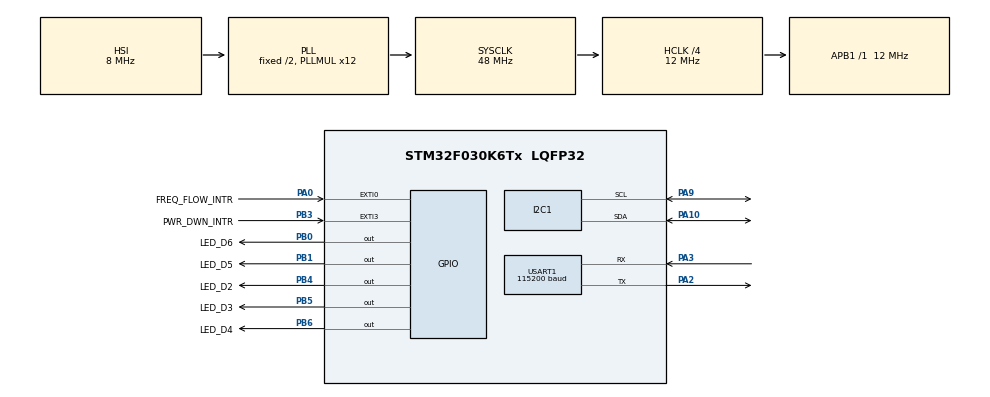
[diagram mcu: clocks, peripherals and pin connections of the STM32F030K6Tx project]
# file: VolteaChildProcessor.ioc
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Mcu.Family=STM32F0
Mcu.Name=STM32F030K6Tx
Mcu.Package=LQFP32
NVIC.EXTI0_1_IRQn=true\:2\:0\:true\:false\:true\:true\:true
NVIC.TIM14_IRQn=true\:1\:0\:true\:false\:true\:true\:true
NVIC.USART1_IRQn=true\:0\:0\:true\:false\:true\:true\:true
PA0.GPIO_Label=FREQ_FLOW_INTR
PA0.Signal=GPXTI0
PA10.Mode=I2C
PA10.Signal=I2C1_SDA
PA13.Mode=Serial_Wire
PA13.Signal=SYS_SWDIO
PA14.Mode=Serial_Wire
PA14.Signal=SYS_SWCLK
PA2.Mode=Asynchronous
PA2.Signal=USART1_TX
PA3.Mode=Asynchronous
PA3.Signal=USART1_RX
PA9.Mode=I2C
PA9.Signal=I2C1_SCL
PB0.GPIO_Label=LED_D6
PB0.Signal=GPIO_Output
PB1.GPIO_Label=LED_D5
PB1.Signal=GPIO_Output
PB3.GPIO_Label=PWR_DWN_INTR
PB3.Signal=GPXTI3
PB4.GPIO_Label=LED_D2
PB4.Signal=GPIO_Output
PB5.GPIO_Label=LED_D3
PB5.Signal=GPIO_Output
PB6.GPIO_Label=LED_D4
PB6.Signal=GPIO_Output
ProjectManager.HeapSize=0x200
ProjectManager.StackSize=0x400
ProjectManager.TargetToolchain=MDK-ARM V5.27
RCC.AHBCLKDivider=RCC_SYSCLK_DIV4
RCC.AHBFreq_Value=12000000
RCC.APB1Freq_Value=12000000
RCC.APB1TimFreq_Value=12000000
RCC.HCLKFreq_Value=12000000
RCC.PLLMUL=RCC_PLL_MUL12
RCC.SYSCLKFreq_VALUE=48000000
RCC.SYSCLKSource=RCC_SYSCLKSOURCE_PLLCLK
TIM14.Period=3
TIM14.Prescaler=11999
USART1.BaudRate=115200
USART1.OverSampling=UART_OVERSAMPLING_8
USART1.VirtualMode-Asynchronous=VM_ASYNC
VP_TIM14_VS_ClockSourceINT.Mode=Enable_Timer
VP_WWDG_VS_WWDG.Mode=WWDG_Activate
WWDG.Counter=127
WWDG.Prescaler=WWDG_PRESCALER_8
WWDG.Window=127
board=custom

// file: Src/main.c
/* USER CODE BEGIN Header */
/**
  ******************************************************************************
  * @file           : main.c
  * @brief          : Main program body
  ******************************************************************************
  * @attention
  *
  * <h2><center>&copy; Copyright (c) 2020 STMicroelectronics.
  * All rights reserved.</center></h2>
  *
  * This software component is licensed by ST under BSD 3-Clause license,
  * the "License"; You may not use this file except in compliance with the
  * License. You may obtain a copy of the License at:
  *                        opensource.org/licenses/BSD-3-Clause
  *
  ******************************************************************************
  */
/* USER CODE END Header */

#include "main.h"

/* USER CODE BEGIN Includes */
#include "SerialCommunication.h"
#include "MyTimer.h"
#include "PC_Communication.h"
#include "InternalFlashMMU.h"
#include "MyAnalog.h"
#include "MyDelay.h"
/* USER CODE END Includes */

I2C_HandleTypeDef hi2c1;

TIM_HandleTypeDef htim14;

UART_HandleTypeDef huart1;

WWDG_HandleTypeDef hwwdg;

void SystemClock_Config(void);
static void MX_GPIO_Init(void);
static void MX_I2C1_Init(void);
static void MX_TIM14_Init(void);
static void MX_USART1_UART_Init(void);
static void MX_WWDG_Init(void);

int main(void)
{

  /* MCU Configuration--------------------------------------------------------*/

  /* Reset of all peripherals, Initializes the Flash interface and the Systick. */
  HAL_Init();

  /* Configure the system clock */
  SystemClock_Config();

  /* Initialize all configured peripherals */
  MX_GPIO_Init();
  MX_I2C1_Init();
  MX_TIM14_Init();
  MX_USART1_UART_Init();
  MX_WWDG_Init();
  /* USER CODE BEGIN 2 */
  HAL_UART_Receive_IT(&huart1,&RxByte,1);

  /* USER CODE END 2 */

  /* Infinite loop */
  /* USER CODE BEGIN WHILE */
  InternalFlashSettings();
  InitMyTimer();

  while (1)
  {
		#ifdef WATCH_DOG
			#if(PROJECT_MODE==RELEASED)
				HAL_WWDG_Refresh(&hwwdg);
			#endif
		#endif
    /* USER CODE END WHILE */

    /* USER CODE BEGIN 3 */
	  CheckCommand();
	  if(MyClock.TimeStamp % 100 == 0)
	  {	ReadTemperature();
			MyDelayMS(5);
	  }
  }
  /* USER CODE END 3 */
}

void SystemClock_Config(void)
{
  RCC_OscInitTypeDef RCC_OscInitStruct = {0};
  RCC_ClkInitTypeDef RCC_ClkInitStruct = {0};
  RCC_PeriphCLKInitTypeDef PeriphClkInit = {0};

  /** Initializes the CPU, AHB and APB busses clocks
  */
  RCC_OscInitStruct.OscillatorType = RCC_OSCILLATORTYPE_HSI;
  RCC_OscInitStruct.HSIState = RCC_HSI_ON;
  RCC_OscInitStruct.HSICalibrationValue = RCC_HSICALIBRATION_DEFAULT;
  RCC_OscInitStruct.PLL.PLLState = RCC_PLL_ON;
  RCC_OscInitStruct.PLL.PLLSource = RCC_PLLSOURCE_HSI;
  RCC_OscInitStruct.PLL.PLLMUL = RCC_PLL_MUL12;
  RCC_OscInitStruct.PLL.PREDIV = RCC_PREDIV_DIV1;
  if (HAL_RCC_OscConfig(&RCC_OscInitStruct) != HAL_OK)
  {
    Error_Handler();
  }
  /** Initializes the CPU, AHB and APB busses clocks
  */
  RCC_ClkInitStruct.ClockType = RCC_CLOCKTYPE_HCLK|RCC_CLOCKTYPE_SYSCLK
                              |RCC_CLOCKTYPE_PCLK1;
  RCC_ClkInitStruct.SYSCLKSource = RCC_SYSCLKSOURCE_PLLCLK;
  RCC_ClkInitStruct.AHBCLKDivider = RCC_SYSCLK_DIV4;
  RCC_ClkInitStruct.APB1CLKDivider = RCC_HCLK_DIV1;

  if (HAL_RCC_ClockConfig(&RCC_ClkInitStruct, FLASH_LATENCY_1) != HAL_OK)
  {
    Error_Handler();
  }
  PeriphClkInit.PeriphClockSelection = RCC_PERIPHCLK_USART1|RCC_PERIPHCLK_I2C1;
  PeriphClkInit.Usart1ClockSelection = RCC_USART1CLKSOURCE_PCLK1;
  PeriphClkInit.I2c1ClockSelection = RCC_I2C1CLKSOURCE_HSI;
  if (HAL_RCCEx_PeriphCLKConfig(&PeriphClkInit) != HAL_OK)
  {
    Error_Handler();
  }
}

static void MX_I2C1_Init(void)
{

  hi2c1.Instance = I2C1;
  hi2c1.Init.Timing = 0x2000090E;
  hi2c1.Init.OwnAddress1 = 0;
  hi2c1.Init.AddressingMode = I2C_ADDRESSINGMODE_7BIT;
  hi2c1.Init.DualAddressMode = I2C_DUALADDRESS_DISABLE;
  hi2c1.Init.OwnAddress2 = 0;
  hi2c1.Init.OwnAddress2Masks = I2C_OA2_NOMASK;
  hi2c1.Init.GeneralCallMode = I2C_GENERALCALL_DISABLE;
  hi2c1.Init.NoStretchMode = I2C_NOSTRETCH_DISABLE;
  if (HAL_I2C_Init(&hi2c1) != HAL_OK)
  {
    Error_Handler();
  }
  /** Configure Analogue filter
  */
  if (HAL_I2CEx_ConfigAnalogFilter(&hi2c1, I2C_ANALOGFILTER_ENABLE) != HAL_OK)
  {
    Error_Handler();
  }
  /** Configure Digital filter
  */
  if (HAL_I2CEx_ConfigDigitalFilter(&hi2c1, 0) != HAL_OK)
  {
    Error_Handler();
  }

}

static void MX_TIM14_Init(void)
{

  htim14.Instance = TIM14;
  htim14.Init.Prescaler = 11999;
  htim14.Init.CounterMode = TIM_COUNTERMODE_UP;
  htim14.Init.Period = 3;
  htim14.Init.ClockDivision = TIM_CLOCKDIVISION_DIV1;
  htim14.Init.AutoReloadPreload = TIM_AUTORELOAD_PRELOAD_DISABLE;
  if (HAL_TIM_Base_Init(&htim14) != HAL_OK)
  {
    Error_Handler();
  }

}

static void MX_USART1_UART_Init(void)
{

  huart1.Instance = USART1;
  huart1.Init.BaudRate = 115200;
  huart1.Init.WordLength = UART_WORDLENGTH_8B;
  huart1.Init.StopBits = UART_STOPBITS_1;
  huart1.Init.Parity = UART_PARITY_NONE;
  huart1.Init.Mode = UART_MODE_TX_RX;
  huart1.Init.HwFlowCtl = UART_HWCONTROL_NONE;
  huart1.Init.OverSampling = UART_OVERSAMPLING_8;
  huart1.Init.OneBitSampling = UART_ONE_BIT_SAMPLE_DISABLE;
  huart1.AdvancedInit.AdvFeatureInit = UART_ADVFEATURE_NO_INIT;
  if (HAL_UART_Init(&huart1) != HAL_OK)
  {
    Error_Handler();
  }

}

static void MX_WWDG_Init(void)
{

  hwwdg.Instance = WWDG;
  hwwdg.Init.Prescaler = WWDG_PRESCALER_8;
  hwwdg.Init.Window = 127;
  hwwdg.Init.Counter = 127;
  hwwdg.Init.EWIMode = WWDG_EWI_DISABLE;
  if (HAL_WWDG_Init(&hwwdg) != HAL_OK)
  {
    Error_Handler();
  }

}

static void MX_GPIO_Init(void)
{
  GPIO_InitTypeDef GPIO_InitStruct = {0};

  /* GPIO Ports Clock Enable */
  __HAL_RCC_GPIOA_CLK_ENABLE();
  __HAL_RCC_GPIOB_CLK_ENABLE();

  /*Configure GPIO pin Output Level */
  HAL_GPIO_WritePin(GPIOB, LED_D6_Pin|LED_D5_Pin|LED_D2_Pin|LED_D3_Pin
                          |LED_D4_Pin, GPIO_PIN_RESET);

  /*Configure GPIO pin : FREQ_FLOW_INTR_Pin */
  GPIO_InitStruct.Pin = FREQ_FLOW_INTR_Pin;
  GPIO_InitStruct.Mode = GPIO_MODE_IT_RISING;
  GPIO_InitStruct.Pull = GPIO_NOPULL;
  HAL_GPIO_Init(FREQ_FLOW_INTR_GPIO_Port, &GPIO_InitStruct);

  /*Configure GPIO pins : LED_D6_Pin LED_D5_Pin LED_D2_Pin LED_D3_Pin
                           LED_D4_Pin */
  GPIO_InitStruct.Pin = LED_D6_Pin|LED_D5_Pin|LED_D2_Pin|LED_D3_Pin
                          |LED_D4_Pin;
  GPIO_InitStruct.Mode = GPIO_MODE_OUTPUT_PP;
  GPIO_InitStruct.Pull = GPIO_NOPULL;
  GPIO_InitStruct.Speed = GPIO_SPEED_FREQ_LOW;
  HAL_GPIO_Init(GPIOB, &GPIO_InitStruct);

  /*Configure GPIO pin : PWR_DWN_INTR_Pin */
  GPIO_InitStruct.Pin = PWR_DWN_INTR_Pin;
  GPIO_InitStruct.Mode = GPIO_MODE_IT_RISING;
  GPIO_InitStruct.Pull = GPIO_NOPULL;
  HAL_GPIO_Init(PWR_DWN_INTR_GPIO_Port, &GPIO_InitStruct);

  /* EXTI interrupt init*/
  HAL_NVIC_SetPriority(EXTI0_1_IRQn, 2, 0);
  HAL_NVIC_EnableIRQ(EXTI0_1_IRQn);

}

/* USER CODE BEGIN 4 */
void HAL_GPIO_EXTI_Callback(uint16_t GPIO_Pin)
{
  //* Prevent unused argument(s) compilation warning
  UNUSED(GPIO_Pin);

//  /* NOTE: This function should not be modified, when the callback is needed,
//            the HAL_GPIO_EXTI_Callback could be implemented in the user file
//
	if(GPIO_Pin == FREQ_FLOW_INTR_Pin)
	{	FlowIntrCounterCurrent++;
		CurrentFlowIntrCounter++;
		switch(FlowIntrCounterCurrent%5)
		{	case 0:
				HAL_GPIO_WritePin(LED_D2_GPIO_Port, LED_D2_Pin, GPIO_PIN_SET);
				HAL_GPIO_WritePin(LED_D3_GPIO_Port, LED_D3_Pin, GPIO_PIN_SET);
				HAL_GPIO_WritePin(LED_D4_GPIO_Port, LED_D4_Pin, GPIO_PIN_SET);
				HAL_GPIO_WritePin(LED_D5_GPIO_Port, LED_D5_Pin, GPIO_PIN_SET);
				HAL_GPIO_WritePin(LED_D6_GPIO_Port, LED_D6_Pin, GPIO_PIN_RESET);
				break;
			case 1:
				HAL_GPIO_WritePin(LED_D2_GPIO_Port, LED_D2_Pin, GPIO_PIN_SET);
				HAL_GPIO_WritePin(LED_D3_GPIO_Port, LED_D3_Pin, GPIO_PIN_SET);
				HAL_GPIO_WritePin(LED_D4_GPIO_Port, LED_D4_Pin, GPIO_PIN_SET);
				HAL_GPIO_WritePin(LED_D5_GPIO_Port, LED_D5_Pin, GPIO_PIN_RESET);
				HAL_GPIO_WritePin(LED_D6_GPIO_Port, LED_D6_Pin, GPIO_PIN_SET);
				break;
			case 2:
				HAL_GPIO_WritePin(LED_D2_GPIO_Port, LED_D2_Pin, GPIO_PIN_SET);
				HAL_GPIO_WritePin(LED_D3_GPIO_Port, LED_D3_Pin, GPIO_PIN_SET);
				HAL_GPIO_WritePin(LED_D4_GPIO_Port, LED_D4_Pin, GPIO_PIN_RESET);
				HAL_GPIO_WritePin(LED_D5_GPIO_Port, LED_D5_Pin, GPIO_PIN_SET);
				HAL_GPIO_WritePin(LED_D6_GPIO_Port, LED_D6_Pin, GPIO_PIN_SET);
				break;
			case 3:
				HAL_GPIO_WritePin(LED_D2_GPIO_Port, LED_D2_Pin, GPIO_PIN_SET);
				HAL_GPIO_WritePin(LED_D3_GPIO_Port, LED_D3_Pin, GPIO_PIN_RESET);
				HAL_GPIO_WritePin(LED_D4_GPIO_Port, LED_D4_Pin, GPIO_PIN_SET);
				HAL_GPIO_WritePin(LED_D5_GPIO_Port, LED_D5_Pin, GPIO_PIN_SET);
				HAL_GPIO_WritePin(LED_D6_GPIO_Port, LED_D6_Pin, GPIO_PIN_SET);
				break;
			default:
			case 4:
				HAL_GPIO_WritePin(LED_D2_GPIO_Port, LED_D2_Pin, GPIO_PIN_RESET);
				HAL_GPIO_WritePin(LED_D3_GPIO_Port, LED_D3_Pin, GPIO_PIN_SET);
				HAL_GPIO_WritePin(LED_D4_GPIO_Port, LED_D4_Pin, GPIO_PIN_SET);
				HAL_GPIO_WritePin(LED_D5_GPIO_Port, LED_D5_Pin, GPIO_PIN_SET);
				HAL_GPIO_WritePin(LED_D6_GPIO_Port, LED_D6_Pin, GPIO_PIN_SET);
				break;

		}
	}
}
/* USER CODE END 4 */

void Error_Handler(void)
{
}

/************************ (C) COPYRIGHT STMicroelectronics *****END OF FILE****/
